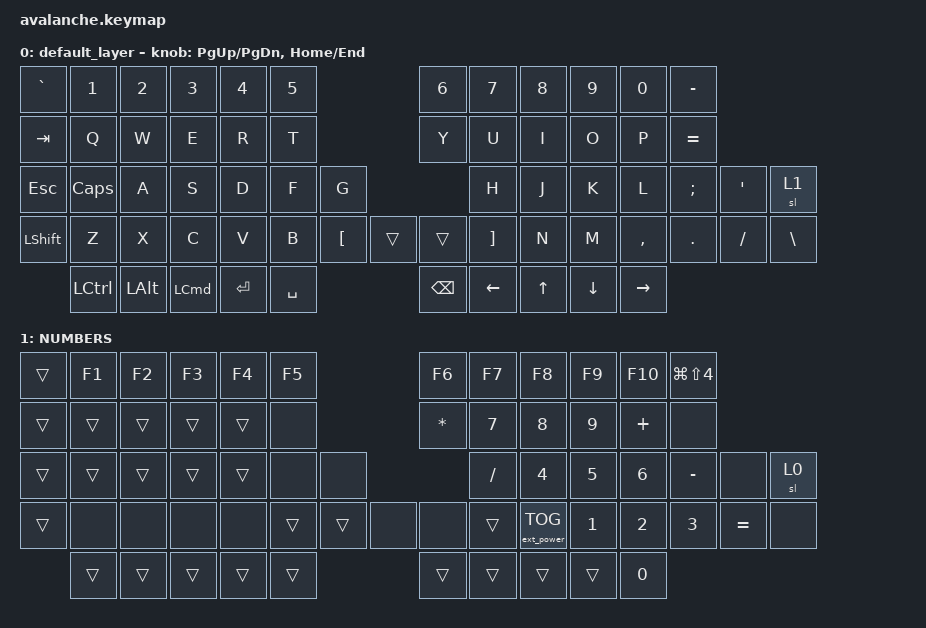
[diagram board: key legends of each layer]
#include <behaviors.dtsi>
#include <dt-bindings/zmk/ext_power.h>
#include <dt-bindings/zmk/keys.h>

/ {
    keymap {
        compatible = "zmk,keymap";

        default_layer {
            // ---------------------------------------------------------------------------------------------------------------------------------------------
            //            |  `  |  1  |  2  |  3  |  4  |  5  |                                             |  6  |  7  |  8  |  9  |  0  |  '  |
            //            | TAB |  Q  |  W  |  E  |  R  |  T  |                                             |  Y  |  U  |  I  |  O  |  P  |  [  | 
            //    |  ESC  |CTRL |  A  |  S  |  D  |  F  |  G  |                                             |  H  |  J  |  K  |  L  |  ;  |  '  |  \   |
            //            |SHIFT|  Z  |  X  |  C  |  V  |  B  |  DEL  |                              | BSPC |  N  |  M  |  ,  |  .  |  /  |  -  |
            //                        | GUI | ALT |SPACE|RAISE| ENTER |                              | ENTER|  =  |SPACE|MO(1)|MO(2)|
            // ---------------------------------------------------------------------------------------------------------------------------------------------

            bindings = <
&kp GRAVE   &kp N1            &kp N2        &kp N3            &kp N4     &kp N5                               &kp N6         &kp N7             &kp N8        &kp N9          &kp N0           &kp MINUS
&kp TAB     &kp Q             &kp W         &kp E             &kp R      &kp T                                &kp Y          &kp U              &kp I         &kp O           &kp P            &kp EQUAL
&kp ESCAPE  &kp CAPSLOCK      &kp A         &kp S             &kp D      &kp F      &kp G                                    &kp H              &kp J         &kp K           &kp L            &kp SEMICOLON  &kp SQT   &sl 1
&kp LSHIFT  &kp Z             &kp X         &kp C             &kp V      &kp B      &kp LEFT_BRACKET  &trans  &trans         &kp RIGHT_BRACKET  &kp N         &kp M           &kp COMMA        &kp PERIOD     &kp FSLH  &kp BACKSLASH
            &kp LEFT_CONTROL  &kp LEFT_ALT  &kp LEFT_COMMAND  &kp ENTER  &kp SPACE                            &kp BACKSPACE  &kp LEFT_ARROW     &kp UP_ARROW  &kp DOWN_ARROW  &kp RIGHT_ARROW
            >;

            sensor-bindings = <&inc_dec_kp PG_UP PG_DN>, <&inc_dec_kp HOME END>;
        };

        NUMBERS {
            // ---------------------------------------------------------------------------------------------------------------------------------------------
            //            |     |     |     |     |     |     |                                          |     |     |     |     |     |     |
            //            |     | HOME|  UP | END |     |     |                                          |     |HOME |     |END  |     |     |
            //       |    |     | LEFT| DOWN|RIGHT|     |     |                                          |SCLUP|LEFT |  UP |  A  |PG_UP|     |    |
            //            |     |     |     |     |     |     |     |                              |     |SCLDN|LEFT | DOWN|RIGHT|PG_DN|     |
            //                        |     |     |     |     |     |                              |     |     |     |     |     |
            // ---------------------------------------------------------------------------------------------------------------------------------------------

            bindings = <
&trans  &kp F1  &kp F2  &kp F3  &kp F4  &kp F5                 &kp F6        &kp F7     &kp F8             &kp F9        &kp F10       &kp LG(LS(NUMBER_4))
&trans  &trans  &trans  &trans  &trans  &none                  &kp ASTERISK  &kp N7     &kp N8             &kp N9        &kp PLUS      &none
&trans  &trans  &trans  &trans  &trans  &none   &none                        &kp SLASH  &kp NUMBER_4       &kp N5        &kp NUMBER_6  &kp MINUS             &none      &sl 0
&trans  &none   &none   &none   &none   &trans  &trans  &none  &none         &trans     &ext_power EP_TOG  &kp NUMBER_1  &kp NUMBER_2  &kp NUMBER_3          &kp EQUAL  &none
        &trans  &trans  &trans  &trans  &trans                 &trans        &trans     &trans             &trans        &kp NUMBER_0
            >;
        };
    };
};
